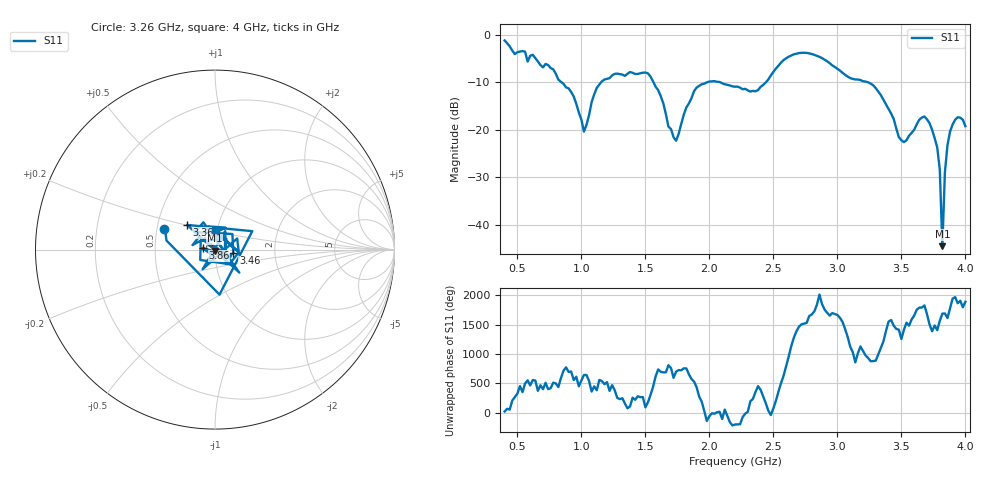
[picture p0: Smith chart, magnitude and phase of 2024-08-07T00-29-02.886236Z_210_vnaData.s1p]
!Created with skrf (http://scikit-rf.org).
# Hz S RI R 50.0
!freq ReS11 ImS11
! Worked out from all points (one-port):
!   181 points, 400 MHz to 4 GHz, reference 50 ohm
!   lowest |S11| = -44.5 dB at 3.82 GHz (marker M1), VSWR 1.01, Z = 49.8 - j0.545 ohm
!   |S11| at or under -10 dB: 1.564 GHz to 1.981 GHz (417 MHz wide, 23.5 % of centre); 2.086 GHz to 2.441 GHz (354.6 MHz wide, 15.7 % of centre); 3.241 GHz to end of sweep (the widest 3 of 4)
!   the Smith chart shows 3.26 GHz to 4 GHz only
!   S11 on the Smith chart (normalised r, x): 3.26 GHz: 0.54, +0.14; 3.36 GHz: 0.71, +0.20; 3.46 GHz: 1.23, -0.05; 3.86 GHz: 0.87, +0.02; 4 GHz: 0.98, +0.22
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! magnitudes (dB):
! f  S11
! 400 MHz  -1.2
! 860 MHz  -10.3
! 940 MHz  -13.0
! 1.02 GHz  -20.4
! 1.12 GHz  -11.2
! 1.3 GHz  -8.3
! 1.52 GHz  -8.1
! 1.62 GHz  -12.9
! 1.72 GHz  -21.5
! 1.76 GHz  -20.8
! 1.9 GHz  -11.1
! 2.2 GHz  -10.9
! 2.38 GHz  -11.6
! 2.66 GHz  -4.1
! 3.1 GHz  -9.1
! 3.26 GHz  -10.2
! 3.36 GHz  -13.7
! 3.46 GHz  -19.7
! 3.52 GHz  -22.6
! 3.56 GHz  -21.2
! 3.68 GHz  -17.2
! 3.76 GHz  -21.7
! 3.8 GHz  -28.3
! 3.82 GHz  -44.5
! 3.84 GHz  -28.9
! 3.86 GHz  -23.2
! 3.92 GHz  -17.9
! 4 GHz  -19.2
